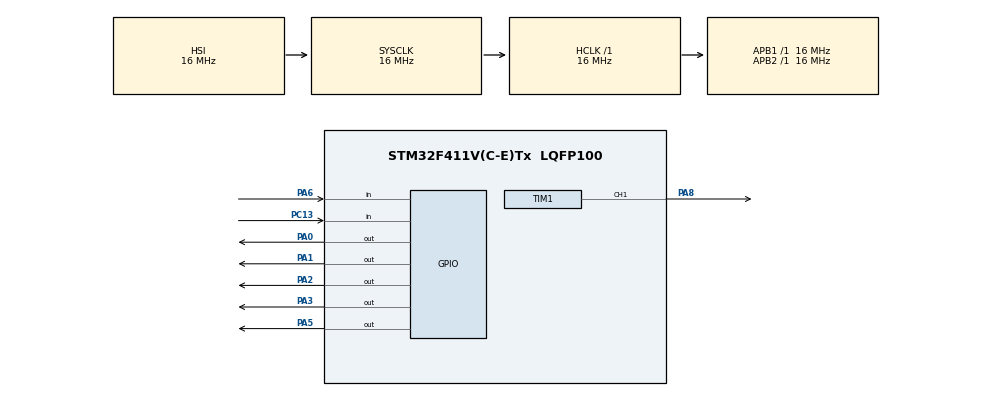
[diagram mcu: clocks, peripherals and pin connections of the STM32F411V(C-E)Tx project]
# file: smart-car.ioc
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Mcu.Family=STM32F4
Mcu.Name=STM32F411V(C-E)Tx
Mcu.Package=LQFP100
NVIC.PriorityGroup=NVIC_PRIORITYGROUP_4
PA0-WKUP.Signal=GPIO_Output
PA1.Signal=GPIO_Output
PA2.Signal=GPIO_Output
PA3.Signal=GPIO_Output
PA5.Signal=GPIO_Output
PA6.Signal=GPIO_Input
PA8.Signal=S_TIM1_CH1
PC13-ANTI_TAMP.GPIO_PuPd=GPIO_PULLUP
PC13-ANTI_TAMP.Signal=GPIO_Input
ProjectManager.HeapSize=0x200
ProjectManager.StackSize=0x400
ProjectManager.TargetToolchain=STM32CubeIDE
RCC.AHBFreq_Value=16000000
RCC.APB1Freq_Value=16000000
RCC.APB2Freq_Value=16000000
RCC.CortexFreq_Value=16000000
RCC.HSE_VALUE=25000000
RCC.HSI_VALUE=16000000
RCC.LSE_VALUE=32768
RCC.SYSCLKFreq_VALUE=16000000
RCC.VCOOutputFreq_Value=192000000
SH.S_TIM1_CH1.0=TIM1_CH1,PWM Generation1 CH1
TIM1.Channel-PWM\ Generation1\ CH1=TIM_CHANNEL_1
TIM1.Period=20000-1
TIM1.Prescaler=84-1
TIM2.Prescaler=84-1
VP_TIM1_VS_ClockSourceINT.Mode=Internal
VP_TIM2_VS_ClockSourceINT.Mode=Internal
board=custom

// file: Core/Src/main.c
/* USER CODE BEGIN Header */
/**
  ******************************************************************************
  * @file           : main.c
  * @brief          : Main program body
  ******************************************************************************
  * @attention
  *
  * Copyright (c) 2026 STMicroelectronics.
  * All rights reserved.
  *
  * This software is licensed under terms that can be found in the LICENSE file
  * in the root directory of this software component.
  * If no LICENSE file comes with this software, it is provided AS-IS.
  *
  ******************************************************************************
  */
/* USER CODE END Header */
#include "main.h"

TIM_HandleTypeDef htim1;
TIM_HandleTypeDef htim2;

/* USER CODE BEGIN PV */
#define IN1 GPIO_PIN_0
#define IN2 GPIO_PIN_1
#define IN3 GPIO_PIN_2
#define IN4 GPIO_PIN_3
#define MOTOR_PORT GPIOA

#define TRIG_PIN GPIO_PIN_5
#define TRIG_PORT GPIOA

#define ECHO_PIN GPIO_PIN_6
#define ECHO_PORT GPIOA

#define BUTTON_PIN GPIO_PIN_13
#define BUTTON_PORT GPIOC

#define SAFE_DISTANCE 10
/* USER CODE END PV */

void SystemClock_Config(void);
static void MX_GPIO_Init(void);
static void MX_TIM1_Init(void);
static void MX_TIM2_Init(void);

/* USER CODE BEGIN 0 */
uint32_t front_distance = 0;
void delay_us(uint16_t us)
{
    __HAL_TIM_SET_COUNTER(&htim2, 0);
    while(__HAL_TIM_GET_COUNTER(&htim2) < us);
}

void servo_write(uint8_t angle)
{
    uint16_t pulse;

    pulse = 500 + (angle * 2000) / 180;

    __HAL_TIM_SET_COMPARE(&htim1, TIM_CHANNEL_1, pulse);
}

uint32_t time = 0;
uint32_t distance;

uint32_t get_distance(void)
{
    uint32_t echo_time = 0;
    uint32_t timeout = 0;

    HAL_GPIO_WritePin(TRIG_PORT, TRIG_PIN, GPIO_PIN_RESET);
    delay_us(2);

    HAL_GPIO_WritePin(TRIG_PORT, TRIG_PIN, GPIO_PIN_SET);
    delay_us(10);
    HAL_GPIO_WritePin(TRIG_PORT, TRIG_PIN, GPIO_PIN_RESET);

    while(HAL_GPIO_ReadPin(ECHO_PORT, ECHO_PIN) == GPIO_PIN_RESET)
    {
        timeout++;
        delay_us(1);
        if(timeout > 30000)
        {
            return 0;
        }
    }

    __HAL_TIM_SET_COUNTER(&htim2, 0);

    while(HAL_GPIO_ReadPin(ECHO_PORT, ECHO_PIN) == GPIO_PIN_SET)
    {
        echo_time = __HAL_TIM_GET_COUNTER(&htim2);

        if(echo_time > 30000)
        {
            return 0;
        }
    }

    return echo_time / 58;
}
void forward(void)
{
		HAL_GPIO_WritePin(MOTOR_PORT, IN1, GPIO_PIN_SET);
	    HAL_GPIO_WritePin(MOTOR_PORT, IN2, GPIO_PIN_RESET);

	    HAL_GPIO_WritePin(MOTOR_PORT, IN3, GPIO_PIN_SET);
	    HAL_GPIO_WritePin(MOTOR_PORT, IN4, GPIO_PIN_RESET);
}

void backward(void)
{
    HAL_GPIO_WritePin(MOTOR_PORT, IN1, GPIO_PIN_RESET);
    HAL_GPIO_WritePin(MOTOR_PORT, IN2, GPIO_PIN_SET);

    HAL_GPIO_WritePin(MOTOR_PORT, IN3, GPIO_PIN_RESET);
    HAL_GPIO_WritePin(MOTOR_PORT, IN4, GPIO_PIN_SET);
}

void stop_motors(void)
{
    HAL_GPIO_WritePin(MOTOR_PORT, IN1, GPIO_PIN_RESET);
    HAL_GPIO_WritePin(MOTOR_PORT, IN2, GPIO_PIN_RESET);

    HAL_GPIO_WritePin(MOTOR_PORT, IN3, GPIO_PIN_RESET);
    HAL_GPIO_WritePin(MOTOR_PORT, IN4, GPIO_PIN_RESET);
}

void turn_right(void)
{
    HAL_GPIO_WritePin(MOTOR_PORT, IN1, GPIO_PIN_SET);
    HAL_GPIO_WritePin(MOTOR_PORT, IN2, GPIO_PIN_RESET);

    HAL_GPIO_WritePin(MOTOR_PORT, IN3, GPIO_PIN_RESET);
    HAL_GPIO_WritePin(MOTOR_PORT, IN4, GPIO_PIN_SET);

    HAL_Delay(450);
    stop_motors();
}

void turn_left(void)
{
    HAL_GPIO_WritePin(MOTOR_PORT, IN1, GPIO_PIN_RESET);
    HAL_GPIO_WritePin(MOTOR_PORT, IN2, GPIO_PIN_SET);

    HAL_GPIO_WritePin(MOTOR_PORT, IN3, GPIO_PIN_SET);
    HAL_GPIO_WritePin(MOTOR_PORT, IN4, GPIO_PIN_RESET);

    HAL_Delay(450);
    stop_motors();
}

/* USER CODE END 0 */

int main(void)
{

  /* MCU Configuration--------------------------------------------------------*/

  /* Reset of all peripherals, Initializes the Flash interface and the Systick. */
  HAL_Init();

  /* Configure the system clock */
  SystemClock_Config();

  /* Initialize all configured peripherals */
  MX_GPIO_Init();
  MX_TIM1_Init();
  MX_TIM2_Init();
  /* USER CODE BEGIN 2 */
  HAL_TIM_PWM_Start(&htim1, TIM_CHANNEL_1);
  HAL_TIM_Base_Start(&htim2);

  servo_write(90);
  HAL_Delay(500);

  while(HAL_GPIO_ReadPin(BUTTON_PORT, BUTTON_PIN) == GPIO_PIN_SET)
  {
      stop_motors();
  }

  HAL_Delay(200);

  /* USER CODE END 2 */

  /* Infinite loop */
  while (1)
  {

      /* USER CODE BEGIN 3 */
	  	  uint32_t right_distance;
	      uint32_t left_distance;

	      servo_write(90);
	      HAL_Delay(300);

	      front_distance = get_distance();

	      if(front_distance == 0 || front_distance > SAFE_DISTANCE)
	      {
	          forward();
	          HAL_Delay(800);
	          continue;
	      }

	      stop_motors();
	      HAL_Delay(300);

	      servo_write(30);
	      HAL_Delay(1500);
	      right_distance = get_distance();

	      servo_write(150);
	      HAL_Delay(1500);
	      left_distance = get_distance();

	      servo_write(90);
	      HAL_Delay(300);

	      if(right_distance > left_distance)
	      {
	          turn_right();
	      }
	      else
	      {
	          turn_left();
	      }

	      HAL_Delay(300);

      /* USER CODE END 3 */
  }

}
void SystemClock_Config(void)
{
  RCC_OscInitTypeDef RCC_OscInitStruct = {0};
  RCC_ClkInitTypeDef RCC_ClkInitStruct = {0};

  /** Configure the main internal regulator output voltage
  */
  __HAL_RCC_PWR_CLK_ENABLE();
  __HAL_PWR_VOLTAGESCALING_CONFIG(PWR_REGULATOR_VOLTAGE_SCALE1);

  /** Initializes the RCC Oscillators according to the specified parameters
  * in the RCC_OscInitTypeDef structure.
  */
  RCC_OscInitStruct.OscillatorType = RCC_OSCILLATORTYPE_HSI;
  RCC_OscInitStruct.HSIState = RCC_HSI_ON;
  RCC_OscInitStruct.HSICalibrationValue = RCC_HSICALIBRATION_DEFAULT;
  RCC_OscInitStruct.PLL.PLLState = RCC_PLL_NONE;
  if (HAL_RCC_OscConfig(&RCC_OscInitStruct) != HAL_OK)
  {
    Error_Handler();
  }

  /** Initializes the CPU, AHB and APB buses clocks
  */
  RCC_ClkInitStruct.ClockType = RCC_CLOCKTYPE_HCLK|RCC_CLOCKTYPE_SYSCLK
                              |RCC_CLOCKTYPE_PCLK1|RCC_CLOCKTYPE_PCLK2;
  RCC_ClkInitStruct.SYSCLKSource = RCC_SYSCLKSOURCE_HSI;
  RCC_ClkInitStruct.AHBCLKDivider = RCC_SYSCLK_DIV1;
  RCC_ClkInitStruct.APB1CLKDivider = RCC_HCLK_DIV1;
  RCC_ClkInitStruct.APB2CLKDivider = RCC_HCLK_DIV1;

  if (HAL_RCC_ClockConfig(&RCC_ClkInitStruct, FLASH_LATENCY_0) != HAL_OK)
  {
    Error_Handler();
  }
}

static void MX_TIM1_Init(void)
{

  TIM_ClockConfigTypeDef sClockSourceConfig = {0};
  TIM_MasterConfigTypeDef sMasterConfig = {0};
  TIM_OC_InitTypeDef sConfigOC = {0};
  TIM_BreakDeadTimeConfigTypeDef sBreakDeadTimeConfig = {0};

  htim1.Instance = TIM1;
  htim1.Init.Prescaler = 16-1;
  htim1.Init.CounterMode = TIM_COUNTERMODE_UP;
  htim1.Init.Period = 20000-1;
  htim1.Init.ClockDivision = TIM_CLOCKDIVISION_DIV1;
  htim1.Init.RepetitionCounter = 0;
  htim1.Init.AutoReloadPreload = TIM_AUTORELOAD_PRELOAD_DISABLE;
  if (HAL_TIM_Base_Init(&htim1) != HAL_OK)
  {
    Error_Handler();
  }
  sClockSourceConfig.ClockSource = TIM_CLOCKSOURCE_INTERNAL;
  if (HAL_TIM_ConfigClockSource(&htim1, &sClockSourceConfig) != HAL_OK)
  {
    Error_Handler();
  }
  if (HAL_TIM_PWM_Init(&htim1) != HAL_OK)
  {
    Error_Handler();
  }
  sMasterConfig.MasterOutputTrigger = TIM_TRGO_RESET;
  sMasterConfig.MasterSlaveMode = TIM_MASTERSLAVEMODE_DISABLE;
  if (HAL_TIMEx_MasterConfigSynchronization(&htim1, &sMasterConfig) != HAL_OK)
  {
    Error_Handler();
  }
  sConfigOC.OCMode = TIM_OCMODE_PWM1;
  sConfigOC.Pulse = 0;
  sConfigOC.OCPolarity = TIM_OCPOLARITY_HIGH;
  sConfigOC.OCNPolarity = TIM_OCNPOLARITY_HIGH;
  sConfigOC.OCFastMode = TIM_OCFAST_DISABLE;
  sConfigOC.OCIdleState = TIM_OCIDLESTATE_RESET;
  sConfigOC.OCNIdleState = TIM_OCNIDLESTATE_RESET;
  if (HAL_TIM_PWM_ConfigChannel(&htim1, &sConfigOC, TIM_CHANNEL_1) != HAL_OK)
  {
    Error_Handler();
  }
  sBreakDeadTimeConfig.OffStateRunMode = TIM_OSSR_DISABLE;
  sBreakDeadTimeConfig.OffStateIDLEMode = TIM_OSSI_DISABLE;
  sBreakDeadTimeConfig.LockLevel = TIM_LOCKLEVEL_OFF;
  sBreakDeadTimeConfig.DeadTime = 0;
  sBreakDeadTimeConfig.BreakState = TIM_BREAK_DISABLE;
  sBreakDeadTimeConfig.BreakPolarity = TIM_BREAKPOLARITY_HIGH;
  sBreakDeadTimeConfig.AutomaticOutput = TIM_AUTOMATICOUTPUT_DISABLE;
  if (HAL_TIMEx_ConfigBreakDeadTime(&htim1, &sBreakDeadTimeConfig) != HAL_OK)
  {
    Error_Handler();
  }
  HAL_TIM_MspPostInit(&htim1);

}

static void MX_TIM2_Init(void)
{

  TIM_ClockConfigTypeDef sClockSourceConfig = {0};
  TIM_MasterConfigTypeDef sMasterConfig = {0};

  htim2.Instance = TIM2;
  htim2.Init.Prescaler = 16-1;
  htim2.Init.CounterMode = TIM_COUNTERMODE_UP;
  htim2.Init.Period = 4294967295;
  htim2.Init.ClockDivision = TIM_CLOCKDIVISION_DIV1;
  htim2.Init.AutoReloadPreload = TIM_AUTORELOAD_PRELOAD_DISABLE;
  if (HAL_TIM_Base_Init(&htim2) != HAL_OK)
  {
    Error_Handler();
  }
  sClockSourceConfig.ClockSource = TIM_CLOCKSOURCE_INTERNAL;
  if (HAL_TIM_ConfigClockSource(&htim2, &sClockSourceConfig) != HAL_OK)
  {
    Error_Handler();
  }
  sMasterConfig.MasterOutputTrigger = TIM_TRGO_RESET;
  sMasterConfig.MasterSlaveMode = TIM_MASTERSLAVEMODE_DISABLE;
  if (HAL_TIMEx_MasterConfigSynchronization(&htim2, &sMasterConfig) != HAL_OK)
  {
    Error_Handler();
  }

}

static void MX_GPIO_Init(void)
{
  GPIO_InitTypeDef GPIO_InitStruct = {0};

  /* GPIO Ports Clock Enable */
  __HAL_RCC_GPIOC_CLK_ENABLE();
  __HAL_RCC_GPIOA_CLK_ENABLE();

  /*Configure GPIO pin Output Level */
  HAL_GPIO_WritePin(GPIOA, GPIO_PIN_0|GPIO_PIN_1|GPIO_PIN_2|GPIO_PIN_3
                          |GPIO_PIN_5, GPIO_PIN_RESET);

  /*Configure GPIO pin : PC13 */
  GPIO_InitStruct.Pin = GPIO_PIN_13;
  GPIO_InitStruct.Mode = GPIO_MODE_INPUT;
  GPIO_InitStruct.Pull = GPIO_PULLUP;
  HAL_GPIO_Init(GPIOC, &GPIO_InitStruct);

  /*Configure GPIO pins : PA0 PA1 PA2 PA3
                           PA5 */
  GPIO_InitStruct.Pin = GPIO_PIN_0|GPIO_PIN_1|GPIO_PIN_2|GPIO_PIN_3
                          |GPIO_PIN_5;
  GPIO_InitStruct.Mode = GPIO_MODE_OUTPUT_PP;
  GPIO_InitStruct.Pull = GPIO_NOPULL;
  GPIO_InitStruct.Speed = GPIO_SPEED_FREQ_LOW;
  HAL_GPIO_Init(GPIOA, &GPIO_InitStruct);

  /*Configure GPIO pin : PA6 */
  GPIO_InitStruct.Pin = GPIO_PIN_6;
  GPIO_InitStruct.Mode = GPIO_MODE_INPUT;
  GPIO_InitStruct.Pull = GPIO_NOPULL;
  HAL_GPIO_Init(GPIOA, &GPIO_InitStruct);

}

void Error_Handler(void)
{
  __disable_irq();
  while (1)
  {
  }
}
